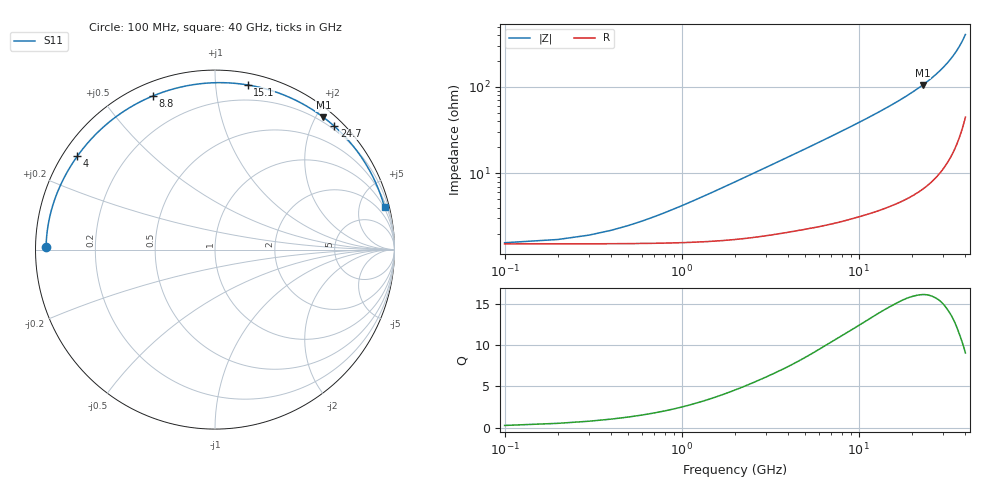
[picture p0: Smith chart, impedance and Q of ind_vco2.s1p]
#  Hz  S  RI  R  50
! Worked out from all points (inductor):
!   400 points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, 100 MHz to 40 GHz, reference 50 ohm
!   read as one part to ground: L = 617 pH near 1.3 GHz
!   highest Q = 16.1 at 23 GHz (marker M1), where L = 728 pH
!   S11 on the Smith chart (normalised r, x): 100 MHz: 0.03, +0.01; 4 GHz: 0.04, +0.31; 8.8 GHz: 0.06, +0.67; 15.1 GHz: 0.08, +1.21; 24.7 GHz: 0.15, +2.35; 40 GHz: 0.89, +8.05
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1e8  -0.9411 0.0147
1e9  -0.9282 0.1456
1.9e9  -0.8962 0.2701
3e9  -0.8365 0.4085
4e9  -0.7678 0.5195
5.1e9  -0.6809 0.6253
6e9  -0.6033 0.6991
6.9e9  -0.5216 0.7614
7.8e9  -0.4379 0.8125
8.8e9  -0.3443 0.8568
1.01e10  -0.2247 0.8971
1.12e10  -0.127 0.918
1.24e10  -0.0252 0.9288
1.37e10  0.0784 0.9287
1.51e10  0.1812 0.9176
1.63e10  0.2622 0.9008
1.76e10  0.3427 0.8768
2.01e10  0.4772 0.818
2.15e10  0.5418 0.7803
2.3e10  0.6036 0.7375
2.47e10  0.665 0.687
2.51e10  0.6782 0.6749
2.75e10  0.7488 0.6018
3.01e10  0.8106 0.5224
3.25e10  0.856 0.4501
3.51e10  0.895 0.3735
3.75e10  0.9227 0.3049
4e10  0.9447 0.2354
